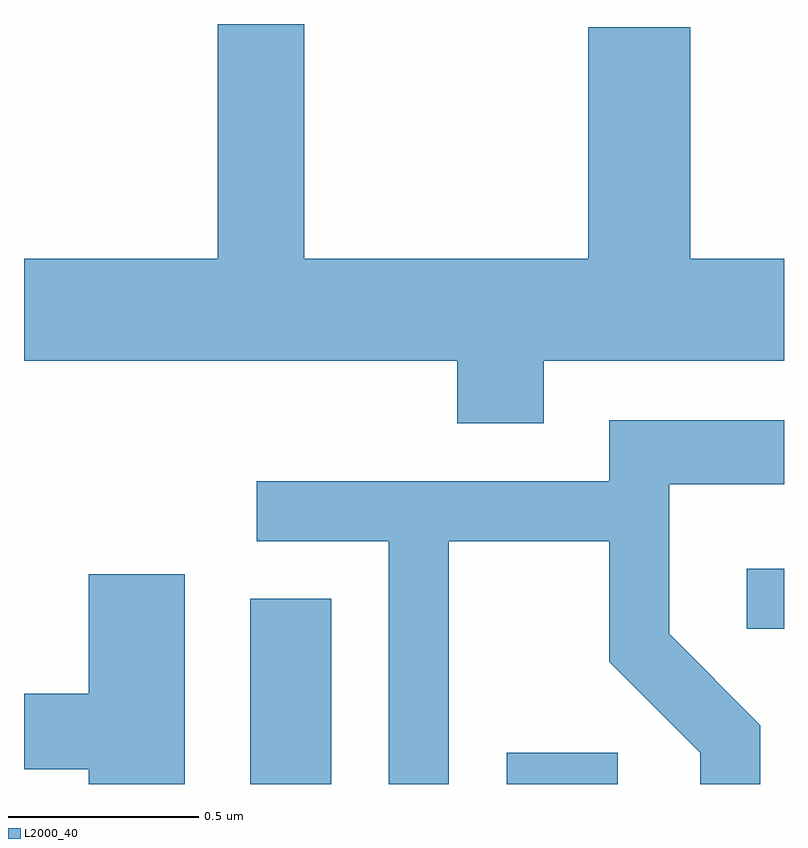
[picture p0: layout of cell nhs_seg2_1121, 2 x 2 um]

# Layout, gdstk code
import gdstk
lib = gdstk.Library(unit=1e-6, precision=1e-09)
def R(c, l, rs):  # rectangles x0, y0, x1, y1
    for r in rs: c.add(gdstk.rectangle(r[:2], r[2:], *l))
def P(c, l, *ps):  # polygons
    for p in ps: c.add(gdstk.Polygon(p, *l))
L2000_40 = (2000, 40)

nhs_seg2_1121 = lib.new_cell('nhs_seg2_1121')
R(nhs_seg2_1121, L2000_40, [(194.206,1002.802,194.419,1003.289), (194.881,1002.802,195.174,1002.884), (195.513,1003.211,195.611,1003.369)])
P(nhs_seg2_1121, L2000_40, [(194.979,1003.916),(195.611,1003.916),(195.611,1004.184),(195.364,1004.184),(195.364,1004.794),(195.096,1004.794),(195.096,1004.184),(194.349,1004.184),(194.349,1004.802),(194.121,1004.802),(194.121,1004.184),(193.611,1004.184),(193.611,1003.916),(194.751,1003.916),(194.751,1003.751),(194.979,1003.751)],
  [(194.729,1003.441),(195.151,1003.441),(195.151,1003.124),(195.391,1002.884),(195.391,1002.802),(195.549,1002.802),(195.549,1002.957),(195.309,1003.197),(195.309,1003.591),(195.611,1003.591),(195.611,1003.759),(195.151,1003.759),(195.151,1003.599),(194.223,1003.599),(194.223,1003.441),(194.571,1003.441),(194.571,1002.802),(194.729,1002.802)],
  [(194.034,1003.354),(193.781,1003.354),(193.781,1003.039),(193.611,1003.039),(193.611,1002.841),(193.781,1002.841),(193.781,1002.802),(194.034,1002.802)])

lib.write_gds('nhs_seg2_1121.gds')
